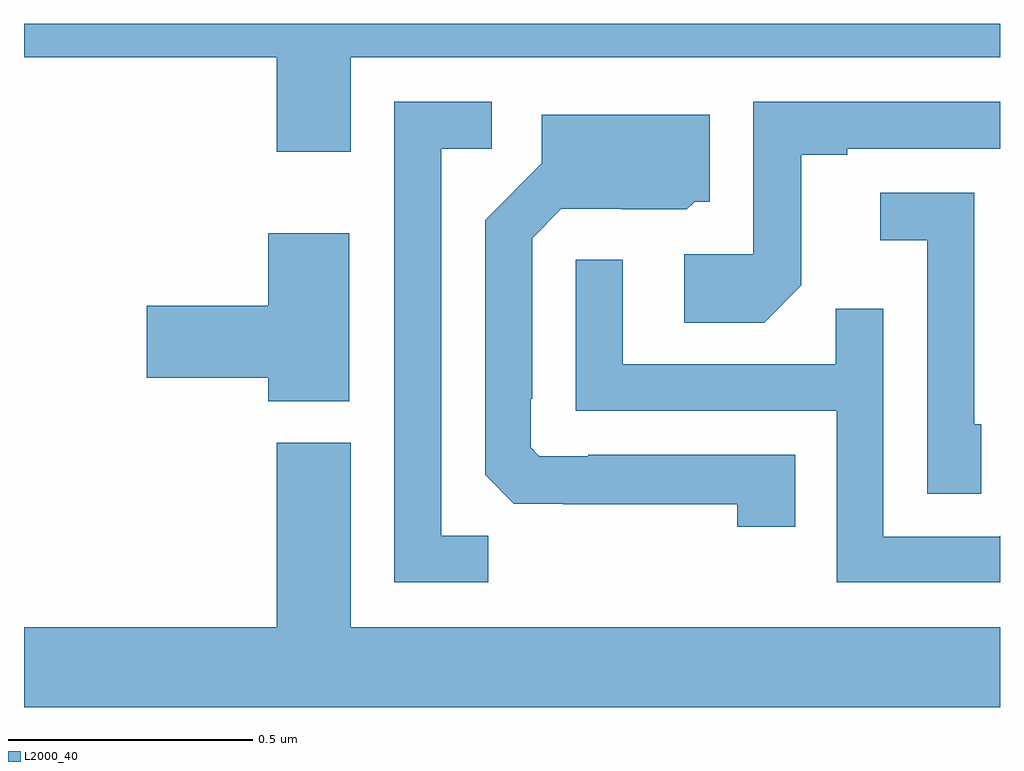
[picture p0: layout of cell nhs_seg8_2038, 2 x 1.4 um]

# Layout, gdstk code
import gdstk
lib = gdstk.Library(unit=1e-6, precision=1e-09)
def P(c, l, *ps):  # polygons
    for p in ps: c.add(gdstk.Polygon(p, *l))
L2000_40 = (2000, 40)

nhs_seg8_2038 = lib.new_cell('nhs_seg8_2038')
P(nhs_seg8_2038, L2000_40, [(138.67,1117.832),(140,1117.832),(140,1117.9),(138,1117.9),(138,1117.832),(138.518,1117.832),(138.518,1117.638),(138.67,1117.638)],
  [(139.593,1117.364),(139.593,1117.632),(139.687,1117.632),(139.687,1117.644),(140,1117.644),(140,1117.74),(139.494,1117.74),(139.494,1117.428),(139.353,1117.428),(139.353,1117.288),(139.517,1117.288)],
  [(138.951,1116.851),(138.855,1116.851),(138.855,1117.644),(138.958,1117.644),(138.958,1117.74),(138.759,1117.74),(138.759,1116.756),(138.951,1116.756)],
  [(139.58,1117.017),(139.156,1117.017),(139.156,1117.014),(139.056,1117.014),(139.038,1117.032),(139.038,1117.132),(139.041,1117.132),(139.041,1117.461),(139.101,1117.521),(139.224,1117.521),(139.224,1117.52),(139.358,1117.52),(139.374,1117.536),(139.405,1117.536),(139.405,1117.714),(139.061,1117.714),(139.061,1117.614),(138.945,1117.498),(138.945,1116.976),(139.004,1116.917),(139.105,1116.917),(139.105,1116.916),(139.462,1116.916),(139.462,1116.87),(139.58,1116.87)],
  [(139.962,1117.08),(139.947,1117.08),(139.947,1117.554),(139.755,1117.554),(139.755,1117.457),(139.851,1117.457),(139.851,1116.937),(139.962,1116.937)],
  [(138.667,1117.471),(138.5,1117.471),(138.5,1117.322),(138.252,1117.322),(138.252,1117.175),(138.5,1117.175),(138.5,1117.127),(138.667,1117.127)],
  [(140,1116.851),(139.998,1116.849),(139.761,1116.849),(139.761,1117.316),(139.663,1117.316),(139.663,1117.203),(139.227,1117.203),(139.227,1117.417),(139.131,1117.417),(139.131,1117.107),(139.665,1117.107),(139.665,1116.756),(140,1116.756)],
  [(140,1116.664),(138.67,1116.664),(138.67,1117.042),(138.518,1117.042),(138.518,1116.664),(138,1116.664),(138,1116.5),(140,1116.5)])

lib.write_gds('nhs_seg8_2038.gds')
